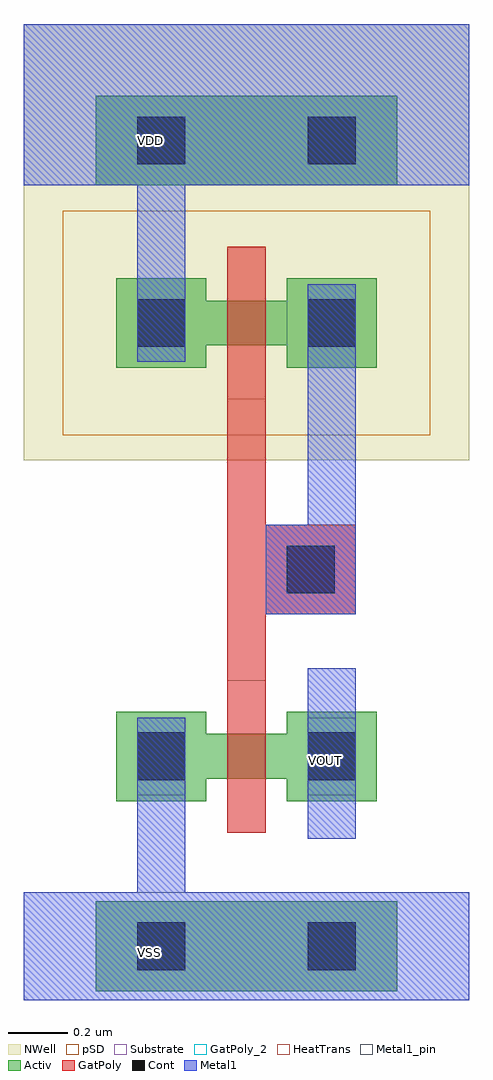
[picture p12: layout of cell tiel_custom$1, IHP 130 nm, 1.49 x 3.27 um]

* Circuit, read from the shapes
.subckt tiel_custom$1 VDD VOUT VSS
XM1 VOUT n1 VSS VSS sg13_lv_nmos w=0.15u l=0.13u
XM2 n1 n1 VDD VDD sg13_lv_pmos w=0.15u l=0.13u
.ends

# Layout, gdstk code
import gdstk
lib = gdstk.Library(unit=1e-6, precision=1e-09)
def R(c, l, rs):  # rectangles x0, y0, x1, y1
    for r in rs: c.add(gdstk.rectangle(r[:2], r[2:], *l))
Activ = (1, 0)
GatPoly = (5, 0)
GatPoly_2 = (5, 2)
Cont = (6, 0)
Metal1 = (8, 0)
Metal1_pin = (8, 2)
pSD = (14, 0)
NWell = (31, 0)
Substrate = (40, 0)
HeatTrans = (51, 0)

nmos_8_2_1 = lib.new_cell('nmos$8$2$1')
R(nmos_8_2_1, Activ, [(0,0,0.3,0.3), (0.57,0,0.87,0.3), (0,0.075,0.87,0.225)])
R(nmos_8_2_1, GatPoly, [(0.37,-0.105,0.5,0.405)])
R(nmos_8_2_1, GatPoly_2, [(0.37,-0.105,0.5,0.405)])
R(nmos_8_2_1, Cont, [(0.07,0.07,0.23,0.23), (0.64,0.07,0.8,0.23)])
R(nmos_8_2_1, Metal1, [(0.07,0.02,0.23,0.28), (0.64,0.02,0.8,0.28)])
R(nmos_8_2_1, Metal1_pin, [(0.07,0.02,0.23,0.28), (0.64,0.02,0.8,0.28)])
R(nmos_8_2_1, HeatTrans, [(0.37,-0.105,0.5,0.405)])
nmos_8_2_1.add(gdstk.Label('nmos', (0.435,0.15), layer=63, texttype=0))
nmos_8_2_1.add(gdstk.Label('nmos', (0.435,0.15), layer=51, texttype=0))

pmos_10_1 = lib.new_cell('pmos$10$1')
R(pmos_10_1, Activ, [(0,0,0.3,0.3), (0.57,0,0.87,0.3), (0,0.075,0.87,0.225)])
R(pmos_10_1, GatPoly, [(0.37,-0.105,0.5,0.405), (0.37,-0.105,0.5,0.405)])
R(pmos_10_1, Cont, [(0.07,0.07,0.23,0.23), (0.64,0.07,0.8,0.23)])
R(pmos_10_1, Metal1, [(0.07,0.02,0.23,0.28), (0.07,0.02,0.23,0.28), (0.64,0.02,0.8,0.28), (0.64,0.02,0.8,0.28)])
R(pmos_10_1, pSD, [(-0.18,-0.225,1.05,0.525)])
R(pmos_10_1, NWell, [(-0.31,-0.31,1.18,0.61)])
R(pmos_10_1, Substrate, [(0.57,0,0.87,0.3)])
R(pmos_10_1, HeatTrans, [(0.37,-0.105,0.5,0.405)])
pmos_10_1.add(gdstk.Label('pmos', (0.435,0.15), layer=63, texttype=0))
pmos_10_1.add(gdstk.Label('pmos', (0.435,0.15), layer=51, texttype=0))

tiel_custom_1 = lib.new_cell('tiel_custom$1')
R(tiel_custom_1, Activ, [(1.81,0.96,2.82,1.26), (1.81,0.96,2.82,1.26), (1.81,0.96,2.82,1.26), (1.81,0.96,2.82,1.26), (1.81,0.96,2.82,1.26), (1.81,3.655,2.82,3.955), (1.81,3.655,2.82,3.955), (1.81,3.655,2.82,3.955), (1.81,3.655,2.82,3.955), (1.81,3.655,2.82,3.955)])
R(tiel_custom_1, GatPoly, [(2.25,1.49,2.38,3.45), (2.25,1.49,2.38,3.45), (2.25,1.49,2.38,3.45), (2.25,1.49,2.38,3.45), (2.25,1.49,2.38,3.45), (2.38,2.22,2.68,2.52), (2.38,2.22,2.68,2.52), (2.38,2.22,2.68,2.52), (2.38,2.22,2.68,2.52), (2.38,2.22,2.68,2.52)])
R(tiel_custom_1, Cont, [(1.95,1.03,2.11,1.19), (1.95,1.03,2.11,1.19), (1.95,1.03,2.11,1.19), (1.95,1.03,2.11,1.19), (1.95,1.03,2.11,1.19), (2.52,1.03,2.68,1.19), (2.52,1.03,2.68,1.19), (2.52,1.03,2.68,1.19), (2.52,1.03,2.68,1.19), (2.52,1.03,2.68,1.19), (2.45,2.29,2.61,2.45), (2.45,2.29,2.61,2.45), (2.45,2.29,2.61,2.45), (2.45,2.29,2.61,2.45), (2.45,2.29,2.61,2.45), (1.95,3.725,2.11,3.885), (1.95,3.725,2.11,3.885), (1.95,3.725,2.11,3.885), (1.95,3.725,2.11,3.885), (1.95,3.725,2.11,3.885), (2.52,3.725,2.68,3.885), (2.52,3.725,2.68,3.885), (2.52,3.725,2.68,3.885), (2.52,3.725,2.68,3.885), (2.52,3.725,2.68,3.885)])
R(tiel_custom_1, Metal1, [(1.57,0.93,3.06,1.29), (1.57,0.93,3.06,1.29), (1.57,0.93,3.06,1.29), (1.57,0.93,3.06,1.29), (1.57,0.93,3.06,1.29), (1.95,1.03,2.11,1.875), (1.95,1.03,2.11,1.875), (1.95,1.03,2.11,1.875), (1.95,1.03,2.11,1.875), (1.95,1.03,2.11,1.875), (2.52,1.47,2.68,2.04), (2.52,1.47,2.68,2.04), (2.38,2.22,2.68,2.52), (2.38,2.22,2.68,2.52), (2.38,2.22,2.68,2.52), (2.38,2.22,2.68,2.52), (2.38,2.22,2.68,2.52), (2.45,2.29,2.68,2.45), (2.45,2.29,2.68,2.45), (2.45,2.29,2.68,2.45), (2.45,2.29,2.68,2.45), (2.45,2.29,2.68,2.45), (2.52,2.29,2.68,3.325), (2.52,2.29,2.68,3.325), (2.52,2.29,2.68,3.325), (2.52,2.29,2.68,3.325), (2.52,2.29,2.68,3.325), (1.95,3.065,2.11,3.955), (1.95,3.065,2.11,3.955), (1.95,3.065,2.11,3.955), (1.95,3.065,2.11,3.955), (1.95,3.065,2.11,3.955), (1.57,3.655,3.06,4.195), (1.57,3.655,3.06,4.195), (1.57,3.655,3.06,4.195), (1.57,3.655,3.06,4.195), (1.57,3.655,3.06,4.195)])
R(tiel_custom_1, Metal1_pin, [(1.57,0.93,3.06,1.29), (1.57,0.93,3.06,1.29), (1.57,0.93,3.06,1.29), (1.57,0.93,3.06,1.29), (1.57,0.93,3.06,1.29), (2.38,2.22,2.68,2.52), (2.38,2.22,2.68,2.52), (2.38,2.22,2.68,2.52), (2.38,2.22,2.68,2.52), (2.38,2.22,2.68,2.52), (2.52,2.29,2.68,3.325), (2.52,2.29,2.68,3.325), (2.52,2.29,2.68,3.325), (2.52,2.29,2.68,3.325), (2.52,2.29,2.68,3.325), (1.57,3.655,3.06,4.195), (1.57,3.655,3.06,4.195), (1.57,3.655,3.06,4.195), (1.57,3.655,3.06,4.195), (1.57,3.655,3.06,4.195)])
R(tiel_custom_1, pSD, [(1.57,0.93,3.06,1.29), (1.57,0.93,3.06,1.29), (1.57,0.93,3.06,1.29), (1.57,0.93,3.06,1.29), (1.57,0.93,3.06,1.29)])
R(tiel_custom_1, NWell, [(1.57,3.655,3.06,4.195), (1.57,3.655,3.06,4.195), (1.57,3.655,3.06,4.195), (1.57,3.655,3.06,4.195), (1.57,3.655,3.06,4.195)])
tiel_custom_1.add(gdstk.Reference(nmos_8_2_1, (1.88,1.595)))
tiel_custom_1.add(gdstk.Reference(pmos_10_1, (1.88,3.045)))
tiel_custom_1.add(gdstk.Label('VOUT', (2.58,1.73), layer=8, texttype=25))
tiel_custom_1.add(gdstk.Label('VSS', (1.99,1.09), layer=8, texttype=25))
tiel_custom_1.add(gdstk.Label('VDD', (1.995,3.805), layer=8, texttype=25))
tiel_custom_1.add(gdstk.Label('VOUT', (2.58,1.73), layer=8, texttype=25))
tiel_custom_1.add(gdstk.Label('VSS', (1.99,1.09), layer=8, texttype=25))
tiel_custom_1.add(gdstk.Label('VDD', (1.995,3.805), layer=8, texttype=25))
tiel_custom_1.add(gdstk.Label('VOUT', (2.58,1.73), layer=8, texttype=25))
tiel_custom_1.add(gdstk.Label('VSS', (1.99,1.09), layer=8, texttype=25))
tiel_custom_1.add(gdstk.Label('VDD', (1.995,3.805), layer=8, texttype=25))
tiel_custom_1.add(gdstk.Label('VOUT', (2.58,1.73), layer=8, texttype=25))
tiel_custom_1.add(gdstk.Label('VSS', (1.99,1.09), layer=8, texttype=25))
tiel_custom_1.add(gdstk.Label('VDD', (1.995,3.805), layer=8, texttype=25))
tiel_custom_1.add(gdstk.Label('VOUT', (2.58,1.73), layer=8, texttype=25))
tiel_custom_1.add(gdstk.Label('VSS', (1.99,1.09), layer=8, texttype=25))
tiel_custom_1.add(gdstk.Label('VDD', (1.995,3.805), layer=8, texttype=25))

lib.write_gds('tiel_custom_1.gds')
